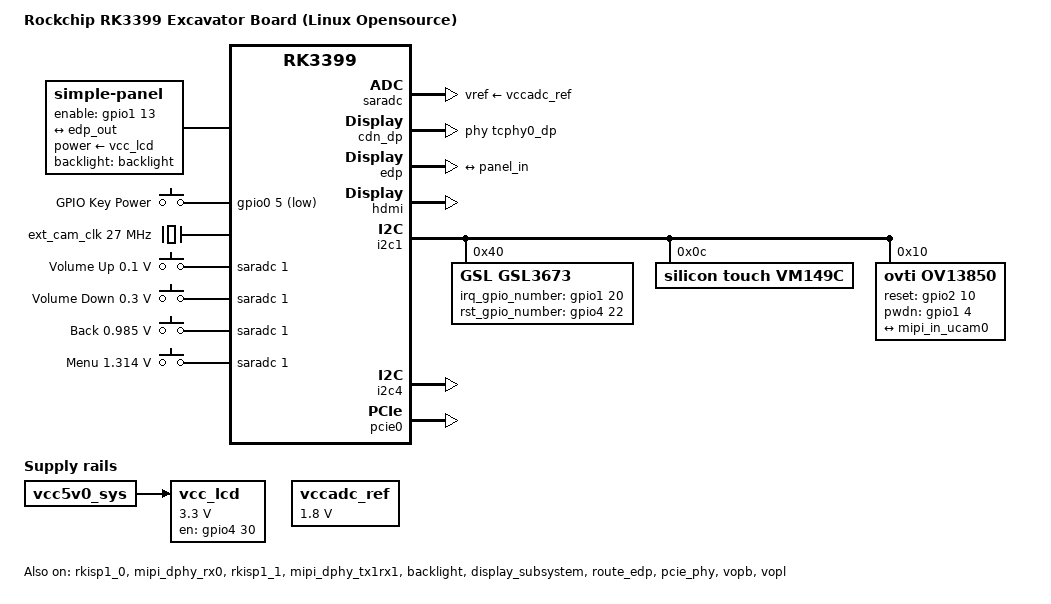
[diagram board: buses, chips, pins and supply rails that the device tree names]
/*
 * Copyright (c) 2016 Fuzhou Rockchip Electronics Co., Ltd
 *
 * This file is dual-licensed: you can use it either under the terms
 * of the GPL or the X11 license, at your option. Note that this dual
 * licensing only applies to this file, and not this project as a
 * whole.
 *
 *  a) This file is free software; you can redistribute it and/or
 *     modify it under the terms of the GNU General Public License as
 *     published by the Free Software Foundation; either version 2 of the
 *     License, or (at your option) any later version.
 *
 *     This file is distributed in the hope that it will be useful,
 *     but WITHOUT ANY WARRANTY; without even the implied warranty of
 *     MERCHANTABILITY or FITNESS FOR A PARTICULAR PURPOSE.  See the
 *     GNU General Public License for more details.
 *
 * Or, alternatively,
 *
 *  b) Permission is hereby granted, free of charge, to any person
 *     obtaining a copy of this software and associated documentation
 *     files (the "Software"), to deal in the Software without
 *     restriction, including without limitation the rights to use,
 *     copy, modify, merge, publish, distribute, sublicense, and/or
 *     sell copies of the Software, and to permit persons to whom the
 *     Software is furnished to do so, subject to the following
 *     conditions:
 *
 *     The above copyright notice and this permission notice shall be
 *     included in all copies or substantial portions of the Software.
 *
 *     THE SOFTWARE IS PROVIDED "AS IS", WITHOUT WARRANTY OF ANY KIND,
 *     EXPRESS OR IMPLIED, INCLUDING BUT NOT LIMITED TO THE WARRANTIES
 *     OF MERCHANTABILITY, FITNESS FOR A PARTICULAR PURPOSE AND
 *     NONINFRINGEMENT. IN NO EVENT SHALL THE AUTHORS OR COPYRIGHT
 *     HOLDERS BE LIABLE FOR ANY CLAIM, DAMAGES OR OTHER LIABILITY,
 *     WHETHER IN AN ACTION OF CONTRACT, TORT OR OTHERWISE, ARISING
 *     FROM, OUT OF OR IN CONNECTION WITH THE SOFTWARE OR THE USE OR
 *     OTHER DEALINGS IN THE SOFTWARE.
 */

/dts-v1/;

#include "rk3399-excavator-sapphire.dtsi"
#include "rk3399-linux.dtsi"
#include <dt-bindings/input/input.h>

/ {
	model = "Rockchip RK3399 Excavator Board (Linux Opensource)";
	compatible = "rockchip,rk3399-excavator-linux", "rockchip,rk3399";

	vcc_lcd: vcc-lcd {
		compatible = "regulator-fixed";
		regulator-name = "vcc_lcd";
		gpio = <&gpio4 30 GPIO_ACTIVE_HIGH>;
		startup-delay-us = <20000>;
		enable-active-high;
		regulator-min-microvolt = <3300000>;
		regulator-max-microvolt = <3300000>;
		regulator-boot-on;
		vin-supply = <&vcc5v0_sys>;
	};

	panel: panel {
		compatible = "simple-panel";
		backlight = <&backlight>;
		power-supply = <&vcc_lcd>;
		enable-gpios = <&gpio1 13 GPIO_ACTIVE_HIGH>;
		prepare-delay-ms = <20>;
		enable-delay-ms = <20>;

		display-timings {
			native-mode = <&timing0>;

			timing0: timing0 {
				clock-frequency = <200000000>;
				hactive = <1536>;
				vactive = <2048>;
				hfront-porch = <12>;
				hsync-len = <16>;
				hback-porch = <48>;
				vfront-porch = <8>;
				vsync-len = <4>;
				vback-porch = <8>;
				hsync-active = <0>;
				vsync-active = <0>;
				de-active = <0>;
				pixelclk-active = <0>;
			};
		};

		ports {
			panel_in: endpoint {
				remote-endpoint = <&edp_out>;
			};
		};
	};

	hdmi_sound: hdmi-sound {
		status = "okay";
	};

	gpio-keys {
		compatible = "gpio-keys";
		#address-cells = <1>;
		#size-cells = <0>;
		autorepeat;

		pinctrl-names = "default";
		pinctrl-0 = <&pwrbtn>;

		button@0 {
			gpios = <&gpio0 5 GPIO_ACTIVE_LOW>;
			linux,code = <KEY_POWER>;
			label = "GPIO Key Power";
			linux,input-type = <1>;
			gpio-key,wakeup = <1>;
			debounce-interval = <100>;
		};
	};

	vccadc_ref: vccadc-ref {
		compatible = "regulator-fixed";
		regulator-name = "vcc1v8_sys";
		regulator-always-on;
		regulator-boot-on;
		regulator-min-microvolt = <1800000>;
		regulator-max-microvolt = <1800000>;
	};

	ext_cam_clk: external-camera-clock {
		compatible = "fixed-clock";
		clock-frequency = <27000000>;
		clock-output-names = "CLK_CAMERA_27MHZ";
		#clock-cells = <0>;
	};

	adc-keys {
		compatible = "adc-keys";
		io-channels = <&saradc 1>;
		io-channel-names = "buttons";
		poll-interval = <100>;
		keyup-threshold-microvolt = <1800000>;

		button-up {
			label = "Volume Up";
			linux,code = <KEY_VOLUMEUP>;
			press-threshold-microvolt = <100000>;
		};

		button-down {
			label = "Volume Down";
			linux,code = <KEY_VOLUMEDOWN>;
			press-threshold-microvolt = <300000>;
		};

		back {
			label = "Back";
			linux,code = <KEY_BACK>;
			press-threshold-microvolt = <985000>;
		};

		menu {
			label = "Menu";
			linux,code = <KEY_MENU>;
			press-threshold-microvolt = <1314000>;
		};
	};
};

&rkisp1_0 {
	status = "okay";

	port {
		#address-cells = <1>;
		#size-cells = <0>;

		isp0_mipi_in: endpoint@0 {
			reg = <0>;
			remote-endpoint = <&dphy_rx0_out>;
		};
	};
};

&mipi_dphy_rx0 {
	status = "okay";

	ports {
		#address-cells = <1>;
		#size-cells = <0>;

		port@0 {
			reg = <0>;
			#address-cells = <1>;
			#size-cells = <0>;

			mipi_in_ucam0: endpoint@1 {
				reg = <1>;
				remote-endpoint = <&ucam_out0>;
				data-lanes = <1 2>;
			};
		};

		port@1 {
			reg = <1>;
			#address-cells = <1>;
			#size-cells = <0>;

			dphy_rx0_out: endpoint@0 {
				reg = <0>;
				remote-endpoint = <&isp0_mipi_in>;
			};
		};
	};
};

&isp0_mmu {
	status = "okay";
};

&rkisp1_1 {
	status = "okay";

	port {
		#address-cells = <1>;
		#size-cells = <0>;

		isp1_mipi_in: endpoint@0 {
			reg = <0>;
			remote-endpoint = <&dphy_tx1rx1_out>;
		};
	};
};

&mipi_dphy_tx1rx1 {
	status = "okay";

	ports {
		#address-cells = <1>;
		#size-cells = <0>;

		port@0 {
			reg = <0>;
			#address-cells = <1>;
			#size-cells = <0>;

			mipi_in_ucam1: endpoint@1 {
				reg = <1>;
				/* Unlinked camera */
				//remote-endpoint = <&ucam_out1>;
				data-lanes = <1 2>;
			};
		};

		port@1 {
			reg = <1>;
			#address-cells = <1>;
			#size-cells = <0>;

			dphy_tx1rx1_out: endpoint@0 {
				reg = <0>;
				remote-endpoint = <&isp1_mipi_in>;
			};
		};
	};
};

&isp1_mmu {
	status = "okay";
};

&saradc {
	vref-supply = <&vccadc_ref>;
};

&backlight {
	status = "okay";
	enable-gpios = <&gpio4 29 GPIO_ACTIVE_HIGH>;
};

&cdn_dp {
	status = "okay";
	extcon = <&fusb0>;
	phys = <&tcphy0_dp>;
};

&display_subsystem {
	status = "okay";
};

&route_edp {
	status = "okay";
};

&edp {
	status = "okay";
	force-hpd;

	ports {
		port@1 {
			reg = <1>;

			edp_out: endpoint {
				remote-endpoint = <&panel_in>;
			};
		};
	};
};

&edp_in_vopb {
	status = "disabled";
};

&hdmi {
	pinctrl-names = "default";
	pinctrl-0 = <&hdmi_i2c_xfer>, <&hdmi_cec>;
	#address-cells = <1>;
	#size-cells = <0>;
	#sound-dai-cells = <0>;
	status = "okay";
};

&hdmi_in_vopl {
	status = "disabled";
};

&i2c1 {
	status = "okay";

	gsl3673: gsl3673@40 {
		compatible = "GSL,GSL3673";
		reg = <0x40>;
		screen_max_x = <1536>;
		screen_max_y = <2048>;
		irq_gpio_number = <&gpio1 20 IRQ_TYPE_LEVEL_LOW>;
		rst_gpio_number = <&gpio4 22 GPIO_ACTIVE_HIGH>;
	};

	tc358749x: tc358749x@f {
		compatible = "toshiba,tc358749";
		reg = <0xf>;
		clocks = <&ext_cam_clk>;
		clock-names = "refclk";
		reset-gpios = <&gpio2 7 GPIO_ACTIVE_LOW>;
		interrupt-parent = <&gpio2>;
		interrupts = <12 IRQ_TYPE_LEVEL_LOW>;
		pinctrl-names = "default";
		pinctrl-0 = <&hdmiin_gpios>;
		status = "disabled";
		port {
			hdmiin_out0: endpoint {
				/* Unlinked mipi dphy rx0 */
				//remote-endpoint = <&mipi_in_ucam0>;
				data-lanes = <1 2 3 4>;
				clock-noncontinuous;
				link-frequencies =
					/bits/ 64 <297000000>;
			};
		};
	};

	vm149c: vm149c@0c {
		compatible = "silicon touch,vm149c";
		status = "okay";
		reg = <0x0c>;
		rockchip,camera-module-index = <0>;
		rockchip,camera-module-facing = "back";
	};

	ov13850: ov13850@10 {
		compatible = "ovti,ov13850";
		status = "okay";
		reg = <0x10>;
		clocks = <&cru SCLK_CIF_OUT>;
		clock-names = "xvclk";

		/* conflict with csi-ctl-gpios */
		reset-gpios = <&gpio2 10 GPIO_ACTIVE_HIGH>;
		pwdn-gpios = <&gpio1 4 GPIO_ACTIVE_HIGH>;
		pinctrl-names = "rockchip,camera_default";
		pinctrl-0 = <&cif_clkout>;

		lens-focus = <&vm149c>;

		port {
			ucam_out0: endpoint {
				remote-endpoint = <&mipi_in_ucam0>;
				data-lanes = <1 2>;
			};
		};
	};
};

&i2c4 {
	status = "okay";
};

&pcie_phy {
	status = "okay";
};

&pcie0 {
	status = "okay";
};

&vopb {
	status = "okay";
	assigned-clocks = <&cru DCLK_VOP0_DIV>;
	assigned-clock-parents = <&cru PLL_CPLL>;
};

&vopb_mmu {
	status = "okay";
};

&vopl {
	status = "okay";
	assigned-clocks = <&cru DCLK_VOP1_DIV>;
	assigned-clock-parents = <&cru PLL_VPLL>;
};

&vopl_mmu {
	status = "okay";
};

&pinctrl {
	buttons {
		pwrbtn: pwrbtn {
			rockchip,pins = <0 RK_PA5 RK_FUNC_GPIO &pcfg_pull_up>;
		};
	};

	lcd-panel {
		lcd_panel_reset: lcd-panel-reset {
			rockchip,pins = <4 RK_PD6 RK_FUNC_GPIO &pcfg_pull_up>;
		};
	};

	hdmiin {
		hdmiin_gpios: hdmiin-gpios {
			rockchip,pins =
				<2 RK_PA5 RK_FUNC_GPIO &pcfg_output_high>,
				<2 RK_PA6 RK_FUNC_GPIO &pcfg_output_high>,
				<2 RK_PA7 RK_FUNC_GPIO &pcfg_pull_none>,
				<2 RK_PB0 RK_FUNC_GPIO &pcfg_output_high>,
				<2 RK_PB1 RK_FUNC_GPIO &pcfg_output_high>,
				<2 RK_PB2 RK_FUNC_GPIO &pcfg_output_low>,
				<2 RK_PB4 RK_FUNC_GPIO &pcfg_pull_none>;
		};
	};
};
